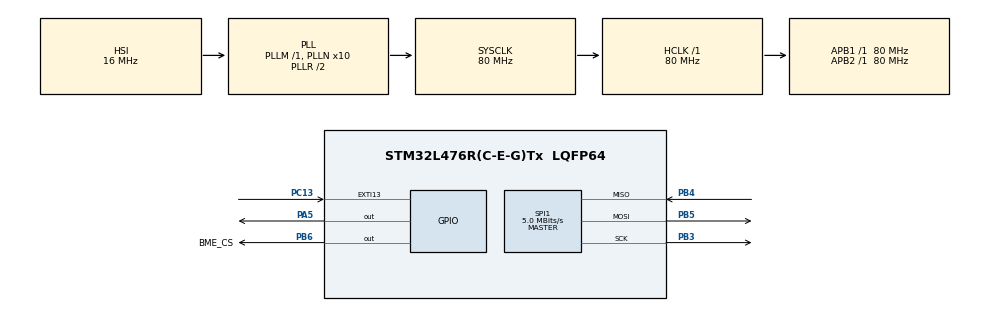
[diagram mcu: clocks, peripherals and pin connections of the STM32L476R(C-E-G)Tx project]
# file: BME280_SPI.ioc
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Mcu.Family=STM32L4
Mcu.Name=STM32L476R(C-E-G)Tx
Mcu.Package=LQFP64
NUCLEO-L476RG.BUTTON=1
NUCLEO-L476RG.LD2=true
NVIC.EXTI15_10_IRQn=true\:0\:0\:false\:false\:true\:false\:true\:true
NVIC.PriorityGroup=NVIC_PRIORITYGROUP_4
PA13\ (JTMS-SWDIO).GPIO_Label=TMS
PA13\ (JTMS-SWDIO).Signal=SYS_JTMS-SWDIO
PA14\ (JTCK-SWCLK).GPIO_Label=TCK
PA14\ (JTCK-SWCLK).Signal=SYS_JTCK-SWCLK
PA2.GPIO_Label=USART_TX
PA2.GPIO_Mode=GPIO_MODE_AF_PP
PA2.GPIO_PuPd=GPIO_NOPULL
PA2.GPIO_Speed=GPIO_SPEED_FREQ_VERY_HIGH
PA2.Signal=USART2_TX
PA3.GPIO_Label=USART_RX
PA3.GPIO_Mode=GPIO_MODE_AF_PP
PA3.GPIO_PuPd=GPIO_NOPULL
PA3.GPIO_Speed=GPIO_SPEED_FREQ_VERY_HIGH
PA3.Signal=USART2_RX
PA5.Signal=GPIO_Output
PB3\ (JTDO-TRACESWO).Mode=Full_Duplex_Master
PB3\ (JTDO-TRACESWO).Signal=SPI1_SCK
PB4\ (NJTRST).Mode=Full_Duplex_Master
PB4\ (NJTRST).Signal=SPI1_MISO
PB5.Mode=Full_Duplex_Master
PB5.Signal=SPI1_MOSI
PB6.GPIO_Label=BME_CS
PB6.PinState=GPIO_PIN_SET
PB6.Signal=GPIO_Output
PC13.Signal=GPXTI13
PC14-OSC32_IN\ (PC14).Signal=RCC_OSC32_IN
PC15-OSC32_OUT\ (PC15).Signal=RCC_OSC32_OUT
PH0-OSC_IN\ (PH0).Signal=RCC_OSC_IN
PH1-OSC_OUT\ (PH1).Signal=RCC_OSC_OUT
ProjectManager.HeapSize=0x200
ProjectManager.StackSize=0x400
ProjectManager.TargetToolchain=STM32CubeIDE
RCC.ADCFreq_Value=64000000
RCC.AHBFreq_Value=80000000
RCC.APB1Freq_Value=80000000
RCC.APB1TimFreq_Value=80000000
RCC.APB2Freq_Value=80000000
RCC.APB2TimFreq_Value=80000000
RCC.CortexFreq_Value=80000000
RCC.HCLKFreq_Value=80000000
RCC.HSE_VALUE=8000000
RCC.HSI_VALUE=16000000
RCC.LSE_VALUE=32768
RCC.MSI_VALUE=4000000
RCC.PLLN=10
RCC.PLLSourceVirtual=RCC_PLLSOURCE_HSI
RCC.PREFETCH_ENABLE=1
RCC.SYSCLKFreq_VALUE=80000000
RCC.SYSCLKSource=RCC_SYSCLKSOURCE_PLLCLK
RCC.USBFreq_Value=64000000
RCC.VCOOutputFreq_Value=160000000
SPI1.BaudRatePrescaler=SPI_BAUDRATEPRESCALER_16
SPI1.CalculateBaudRate=5.0 MBits/s
SPI1.DataSize=SPI_DATASIZE_8BIT
SPI1.Direction=SPI_DIRECTION_2LINES
SPI1.Mode=SPI_MODE_MASTER
SPI1.VirtualType=VM_MASTER
VP_NUCLEO-L476RG_VS_BSP_COMMON.Mode=COMMON
board=NUCLEO-L476RG

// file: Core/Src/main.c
/* USER CODE BEGIN Header */
/**
  ******************************************************************************
  * @file           : main.c
  * @brief          : Main program body
  ******************************************************************************
  * @attention
  *
  * Copyright (c) 2026 STMicroelectronics.
  * All rights reserved.
  *
  * This software is licensed under terms that can be found in the LICENSE file
  * in the root directory of this software component.
  * If no LICENSE file comes with this software, it is provided AS-IS.
  *
  ******************************************************************************
  */
/* USER CODE END Header */
#include "main.h"

/* USER CODE BEGIN Includes */
#include "BME280_driver.h"
/* USER CODE END Includes */

SPI_HandleTypeDef hspi1;

/* USER CODE BEGIN PV */
/* Watch these in the Expressions / Live Expressions view. */
volatile BME280_Data       sensor       = {0};
volatile int32_t           temp_c_x100  = 0;   /* 2143 -> 21.43 C          */
volatile uint32_t          press_pa     = 0;   /* 96386 -> 963.86 hPa      */
volatile uint32_t          hum_rh_x100  = 0;   /* 0 on a BMP280            */
volatile HAL_StatusTypeDef bme_status   = HAL_ERROR;
volatile uint8_t           bme_chip_id  = 0;
volatile uint32_t          read_count   = 0;
/* USER CODE END PV */

void SystemClock_Config(void);
static void MX_GPIO_Init(void);
static void MX_SPI1_Init(void);

int main(void)
{

  /* MCU Configuration--------------------------------------------------------*/

  /* Reset of all peripherals, Initializes the Flash interface and the Systick. */
  HAL_Init();

  /* Configure the system clock */
  SystemClock_Config();

  /* Initialize all configured peripherals */
  MX_GPIO_Init();
  MX_SPI1_Init();
  /* USER CODE BEGIN 2 */
  /* Initialize leds */
  BSP_LED_Init(LED_GREEN);

  /* Bring up the sensor: probe it, reset it, read its calibration, start it. */
  bme_status  = BME280_Init(&hspi1, BME_CS_GPIO_Port, BME_CS_Pin);
  bme_chip_id = BME280_GetChipID();

  if (bme_status != HAL_OK)
  {
    /* Sensor did not answer. Park here rather than spinning on bad data -
     * break in with the debugger and inspect bme_status / bme_chip_id.
     */
    while (1)
    {
      BSP_LED_Toggle(LED_GREEN);
      HAL_Delay(100);          /* fast blink = sensor fault */
    }
  }
  /* USER CODE END 2 */

  /* Initialize leds */
  BSP_LED_Init(LED_GREEN);

  /* Initialize USER push-button, will be used to trigger an interrupt each time it's pressed.*/
  BSP_PB_Init(BUTTON_USER, BUTTON_MODE_EXTI);

  /* Infinite loop */
  while (1)
  {

    /* USER CODE BEGIN 3 */
    if (BME280_ReadAll((BME280_Data *)&sensor) == HAL_OK)
    {
      temp_c_x100 = sensor.temperature;
      press_pa    = sensor.pressure;
      hum_rh_x100 = sensor.humidity;
      read_count++;
      BSP_LED_Toggle(LED_GREEN);   /* slow blink = healthy */
    }

    HAL_Delay(500);
  }
  /* USER CODE END 3 */
}

void SystemClock_Config(void)
{
  RCC_OscInitTypeDef RCC_OscInitStruct = {0};
  RCC_ClkInitTypeDef RCC_ClkInitStruct = {0};

  /** Configure the main internal regulator output voltage
  */
  if (HAL_PWREx_ControlVoltageScaling(PWR_REGULATOR_VOLTAGE_SCALE1) != HAL_OK)
  {
    Error_Handler();
  }

  /** Initializes the RCC Oscillators according to the specified parameters
  * in the RCC_OscInitTypeDef structure.
  */
  RCC_OscInitStruct.OscillatorType = RCC_OSCILLATORTYPE_HSI;
  RCC_OscInitStruct.HSIState = RCC_HSI_ON;
  RCC_OscInitStruct.HSICalibrationValue = RCC_HSICALIBRATION_DEFAULT;
  RCC_OscInitStruct.PLL.PLLState = RCC_PLL_ON;
  RCC_OscInitStruct.PLL.PLLSource = RCC_PLLSOURCE_HSI;
  RCC_OscInitStruct.PLL.PLLM = 1;
  RCC_OscInitStruct.PLL.PLLN = 10;
  RCC_OscInitStruct.PLL.PLLP = RCC_PLLP_DIV7;
  RCC_OscInitStruct.PLL.PLLQ = RCC_PLLQ_DIV2;
  RCC_OscInitStruct.PLL.PLLR = RCC_PLLR_DIV2;
  if (HAL_RCC_OscConfig(&RCC_OscInitStruct) != HAL_OK)
  {
    Error_Handler();
  }

  /** Initializes the CPU, AHB and APB buses clocks
  */
  RCC_ClkInitStruct.ClockType = RCC_CLOCKTYPE_HCLK|RCC_CLOCKTYPE_SYSCLK
                              |RCC_CLOCKTYPE_PCLK1|RCC_CLOCKTYPE_PCLK2;
  RCC_ClkInitStruct.SYSCLKSource = RCC_SYSCLKSOURCE_PLLCLK;
  RCC_ClkInitStruct.AHBCLKDivider = RCC_SYSCLK_DIV1;
  RCC_ClkInitStruct.APB1CLKDivider = RCC_HCLK_DIV1;
  RCC_ClkInitStruct.APB2CLKDivider = RCC_HCLK_DIV1;

  if (HAL_RCC_ClockConfig(&RCC_ClkInitStruct, FLASH_LATENCY_4) != HAL_OK)
  {
    Error_Handler();
  }
}

static void MX_SPI1_Init(void)
{

  /* SPI1 parameter configuration*/
  hspi1.Instance = SPI1;
  hspi1.Init.Mode = SPI_MODE_MASTER;
  hspi1.Init.Direction = SPI_DIRECTION_2LINES;
  hspi1.Init.DataSize = SPI_DATASIZE_8BIT;
  hspi1.Init.CLKPolarity = SPI_POLARITY_LOW;
  hspi1.Init.CLKPhase = SPI_PHASE_1EDGE;
  hspi1.Init.NSS = SPI_NSS_SOFT;
  hspi1.Init.BaudRatePrescaler = SPI_BAUDRATEPRESCALER_16;
  hspi1.Init.FirstBit = SPI_FIRSTBIT_MSB;
  hspi1.Init.TIMode = SPI_TIMODE_DISABLE;
  hspi1.Init.CRCCalculation = SPI_CRCCALCULATION_DISABLE;
  hspi1.Init.CRCPolynomial = 7;
  hspi1.Init.CRCLength = SPI_CRC_LENGTH_DATASIZE;
  hspi1.Init.NSSPMode = SPI_NSS_PULSE_ENABLE;
  if (HAL_SPI_Init(&hspi1) != HAL_OK)
  {
    Error_Handler();
  }

}

static void MX_GPIO_Init(void)
{
  GPIO_InitTypeDef GPIO_InitStruct = {0};

  /* GPIO Ports Clock Enable */
  __HAL_RCC_GPIOC_CLK_ENABLE();
  __HAL_RCC_GPIOH_CLK_ENABLE();
  __HAL_RCC_GPIOA_CLK_ENABLE();
  __HAL_RCC_GPIOB_CLK_ENABLE();

  /*Configure GPIO pin Output Level */
  HAL_GPIO_WritePin(BME_CS_GPIO_Port, BME_CS_Pin, GPIO_PIN_SET);

  /*Configure GPIO pins : USART_TX_Pin USART_RX_Pin */
  GPIO_InitStruct.Pin = USART_TX_Pin|USART_RX_Pin;
  GPIO_InitStruct.Mode = GPIO_MODE_AF_PP;
  GPIO_InitStruct.Pull = GPIO_NOPULL;
  GPIO_InitStruct.Speed = GPIO_SPEED_FREQ_VERY_HIGH;
  GPIO_InitStruct.Alternate = GPIO_AF7_USART2;
  HAL_GPIO_Init(GPIOA, &GPIO_InitStruct);

  /*Configure GPIO pin : BME_CS_Pin */
  GPIO_InitStruct.Pin = BME_CS_Pin;
  GPIO_InitStruct.Mode = GPIO_MODE_OUTPUT_PP;
  GPIO_InitStruct.Pull = GPIO_NOPULL;
  GPIO_InitStruct.Speed = GPIO_SPEED_FREQ_LOW;
  HAL_GPIO_Init(BME_CS_GPIO_Port, &GPIO_InitStruct);

}

void Error_Handler(void)
{
  __disable_irq();
  while (1)
  {
  }
}
